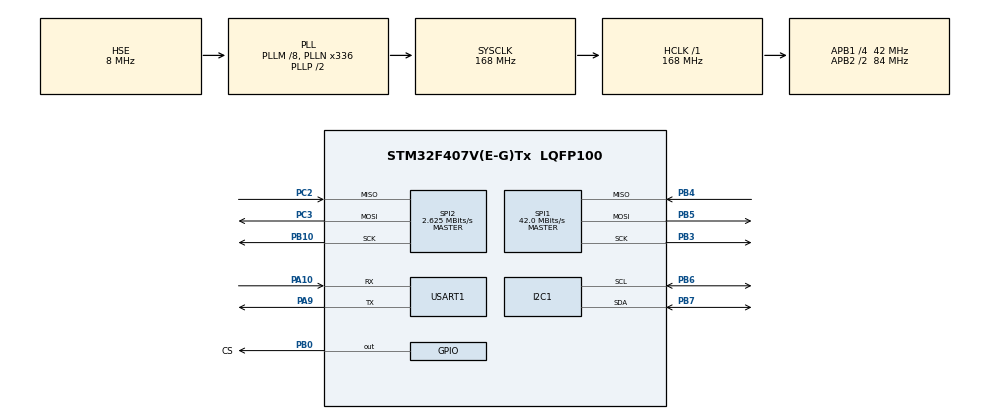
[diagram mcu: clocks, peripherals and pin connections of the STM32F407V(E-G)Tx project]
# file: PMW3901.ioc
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Mcu.Family=STM32F4
Mcu.Name=STM32F407V(E-G)Tx
Mcu.Package=LQFP100
NVIC.PriorityGroup=NVIC_PRIORITYGROUP_4
PA10.Mode=Asynchronous
PA10.Signal=USART1_RX
PA13.Mode=Serial_Wire
PA13.Signal=SYS_JTMS-SWDIO
PA14.Mode=Serial_Wire
PA14.Signal=SYS_JTCK-SWCLK
PA9.Mode=Asynchronous
PA9.Signal=USART1_TX
PB0.GPIO_Label=CS
PB0.Signal=GPIO_Output
PB10.Mode=Full_Duplex_Master
PB10.Signal=SPI2_SCK
PB3.Mode=Full_Duplex_Master
PB3.Signal=SPI1_SCK
PB4.Mode=Full_Duplex_Master
PB4.Signal=SPI1_MISO
PB5.Mode=Full_Duplex_Master
PB5.Signal=SPI1_MOSI
PB6.Mode=I2C
PB6.Signal=I2C1_SCL
PB7.Mode=I2C
PB7.Signal=I2C1_SDA
PC2.Mode=Full_Duplex_Master
PC2.Signal=SPI2_MISO
PC3.Mode=Full_Duplex_Master
PC3.Signal=SPI2_MOSI
PH0-OSC_IN.Mode=HSE-External-Oscillator
PH0-OSC_IN.Signal=RCC_OSC_IN
PH1-OSC_OUT.Mode=HSE-External-Oscillator
PH1-OSC_OUT.Signal=RCC_OSC_OUT
ProjectManager.HeapSize=0x200
ProjectManager.StackSize=0x400
ProjectManager.TargetToolchain=STM32CubeIDE
RCC.48MHZClocksFreq_Value=84000000
RCC.AHBFreq_Value=168000000
RCC.APB1CLKDivider=RCC_HCLK_DIV4
RCC.APB1Freq_Value=42000000
RCC.APB1TimFreq_Value=84000000
RCC.APB2CLKDivider=RCC_HCLK_DIV2
RCC.APB2Freq_Value=84000000
RCC.APB2TimFreq_Value=168000000
RCC.CortexFreq_Value=168000000
RCC.HCLKFreq_Value=168000000
RCC.HSE_VALUE=8000000
RCC.HSI_VALUE=16000000
RCC.LSE_VALUE=32768
RCC.PLLM=8
RCC.PLLN=336
RCC.PLLSourceVirtual=RCC_PLLSOURCE_HSE
RCC.SYSCLKFreq_VALUE=168000000
RCC.SYSCLKSource=RCC_SYSCLKSOURCE_PLLCLK
RCC.VCOOutputFreq_Value=336000000
SPI1.CalculateBaudRate=42.0 MBits/s
SPI1.Direction=SPI_DIRECTION_2LINES
SPI1.Mode=SPI_MODE_MASTER
SPI1.VirtualType=VM_MASTER
SPI2.BaudRatePrescaler=SPI_BAUDRATEPRESCALER_16
SPI2.CalculateBaudRate=2.625 MBits/s
SPI2.Direction=SPI_DIRECTION_2LINES
SPI2.Mode=SPI_MODE_MASTER
SPI2.VirtualType=VM_MASTER
USART1.VirtualMode=VM_ASYNC
board=custom

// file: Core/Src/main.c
/* USER CODE BEGIN Header */
/**
  ******************************************************************************
  * @file           : main.c
  * @brief          : Main program body
  ******************************************************************************
  * @attention
  *
  * Copyright (c) 2023 STMicroelectronics.
  * All rights reserved.
  *
  * This software is licensed under terms that can be found in the LICENSE file
  * in the root directory of this software component.
  * If no LICENSE file comes with this software, it is provided AS-IS.
  *
  ******************************************************************************
  */
/* USER CODE END Header */
#include "main.h"
#include "i2c.h"
#include "spi.h"
#include "usart.h"
#include "gpio.h"

/* USER CODE BEGIN Includes */
#include "retarget.h"
#include "pmw3901.h"
#include "w25qxx.h"
#include "SPL06_001.h"
#include <math.h>

/* USER CODE END Includes */

/* USER CODE BEGIN PTD */
float temperature;//读取的温度值 单位℃摄氏度
float presure;//温度补偿后的气压值 单位mpar 毫帕
typedef uint32_t  u32;

int32_t baro_height;//解算后的气压高度值，单位mm毫米

/* USER CODE END PTD */

/* USER CODE BEGIN PV */
uint8_t RD_Buffer[5000] = {0};
uint8_t WR_Buffer[5000] = "SPI FLASH WRITE TEST\n";
/* USER CODE END PV */

void SystemClock_Config(void);

int main(void)
{
  /* USER CODE BEGIN 1 */
    uint16_t FLASH_ID = 0;
    uint32_t i;
  /* USER CODE END 1 */

  /* MCU Configuration--------------------------------------------------------*/

  /* Reset of all peripherals, Initializes the Flash interface and the Systick. */
  HAL_Init();

  /* Configure the system clock */
  SystemClock_Config();

  /* Initialize all configured peripherals */
  MX_GPIO_Init();
  MX_USART1_UART_Init();
  MX_SPI2_Init();
  MX_SPI1_Init();
  MX_I2C1_Init();
  /* USER CODE BEGIN 2 */
  RetargetInit(&huart1);
//    MX_SPI1_Init();

    printf("init uart over\n");
    PMWinit();
    printf("chushihua");
    int16_t deltax, deltay;
    FLASH_ID = sFLASH_ReadID();

    printf("FLASH_ID = %x\n",FLASH_ID);
    if(spl0601_init() != 0)
    {
        printf("SPL06 init fail!\r\n\r\n\r\n");
//        while(1);
    } else{
        printf("SPL06 init suc!\r\n\r\n\r\n");
    }
//    temperature = user_spl0601_get_temperature();
//    presure = user_spl0601_get_presure();
//    baro_height = (uint32_t)((102000.0f	- presure) * 78.740f);  //?1mpar??????θ???78.740mm
//    float altitude = 44330.0 * (1 - pow(presure / 101325.0, 0.190284));

    /*???????*/
//    sFLASH_EraseSector(4096*0);
//    sFLASH_EraseSector(4096*1);
//    sFLASH_ReadBuffer(RD_Buffer,0,4096);
//    printf("????????\n");
//    for(i=0; i<4096; i++)
//    {
//        printf("%x ",RD_Buffer[i]);
//    }
//    printf("?????????\n");

//	/*????д????1*/
    //sFLASH_WritePage(WR_Buffer,0, 20);
    //sFLASH_ReadBuffer(RD_Buffer,0,20);
    //printf("READ DATA: %s\n",RD_Buffer);

    /*????д????2*/
//    for(i=0; i<4096; i++)
//    {
//        WR_Buffer[i] = 0x55;
//    }
//    sFLASH_WriteBuffer(WR_Buffer,4090, 1000);
//    sFLASH_ReadBuffer(RD_Buffer,4090,1000);
//    for(i=0; i<1000; i++)
//    {
//        printf("%x ",RD_Buffer[i]);
//    }

  /* USER CODE END 2 */

  /* Infinite loop */
  /* USER CODE BEGIN WHILE */
  while (1)
  {

      temperature = user_spl0601_get_temperature();
      presure = user_spl0601_get_presure();
      baro_height = (int32_t)fabs(((102000.0f	- presure) * 78.740f));  //?1mpar??????θ???78.740mm
      printf("气压计内部温度为: %.1f\r\n",temperature);//发送海拔高度数据到串口助手
      printf("温度补偿后的气压值为: %.1fmpar\r\n",presure);//发送海拔高度数据到串口助手
      printf("当前的海拔高度为：%dmm\r\n", baro_height);//发送海拔高度数据到串口助手
//      printf("testtest=%f    %f    %d\n",(102000.0f	- 103541.5),(102000.0f	- 103541.5)*78.740f,(uint32_t)((102000.0f	- 103541.5) * 78.740f));
      printf("\r\n\r\n\r\n");

//      printf("%f,%f,%f\n",(102000.0f	- presure),78.740f,(uint32_t)((102000.0f	- presure) * 78.740f));

//      HAL_Delay(10);

      HAL_Delay(1000);
//      readMotionCount(&deltax, &deltay);
//
//      printf("xx%d ,yy%d\n",deltax,deltay);
//      HAL_Delay(100);
    /* USER CODE END WHILE */

  }
}

void SystemClock_Config(void)
{
  RCC_OscInitTypeDef RCC_OscInitStruct = {0};
  RCC_ClkInitTypeDef RCC_ClkInitStruct = {0};

  /** Configure the main internal regulator output voltage
  */
  __HAL_RCC_PWR_CLK_ENABLE();
  __HAL_PWR_VOLTAGESCALING_CONFIG(PWR_REGULATOR_VOLTAGE_SCALE1);

  /** Initializes the RCC Oscillators according to the specified parameters
  * in the RCC_OscInitTypeDef structure.
  */
  RCC_OscInitStruct.OscillatorType = RCC_OSCILLATORTYPE_HSE;
  RCC_OscInitStruct.HSEState = RCC_HSE_ON;
  RCC_OscInitStruct.PLL.PLLState = RCC_PLL_ON;
  RCC_OscInitStruct.PLL.PLLSource = RCC_PLLSOURCE_HSE;
  RCC_OscInitStruct.PLL.PLLM = 8;
  RCC_OscInitStruct.PLL.PLLN = 336;
  RCC_OscInitStruct.PLL.PLLP = RCC_PLLP_DIV2;
  RCC_OscInitStruct.PLL.PLLQ = 4;
  if (HAL_RCC_OscConfig(&RCC_OscInitStruct) != HAL_OK)
  {
    Error_Handler();
  }

  /** Initializes the CPU, AHB and APB buses clocks
  */
  RCC_ClkInitStruct.ClockType = RCC_CLOCKTYPE_HCLK|RCC_CLOCKTYPE_SYSCLK
                              |RCC_CLOCKTYPE_PCLK1|RCC_CLOCKTYPE_PCLK2;
  RCC_ClkInitStruct.SYSCLKSource = RCC_SYSCLKSOURCE_PLLCLK;
  RCC_ClkInitStruct.AHBCLKDivider = RCC_SYSCLK_DIV1;
  RCC_ClkInitStruct.APB1CLKDivider = RCC_HCLK_DIV4;
  RCC_ClkInitStruct.APB2CLKDivider = RCC_HCLK_DIV2;

  if (HAL_RCC_ClockConfig(&RCC_ClkInitStruct, FLASH_LATENCY_5) != HAL_OK)
  {
    Error_Handler();
  }
}

void Error_Handler(void)
{
  __disable_irq();
  while (1)
  {
  }
}
